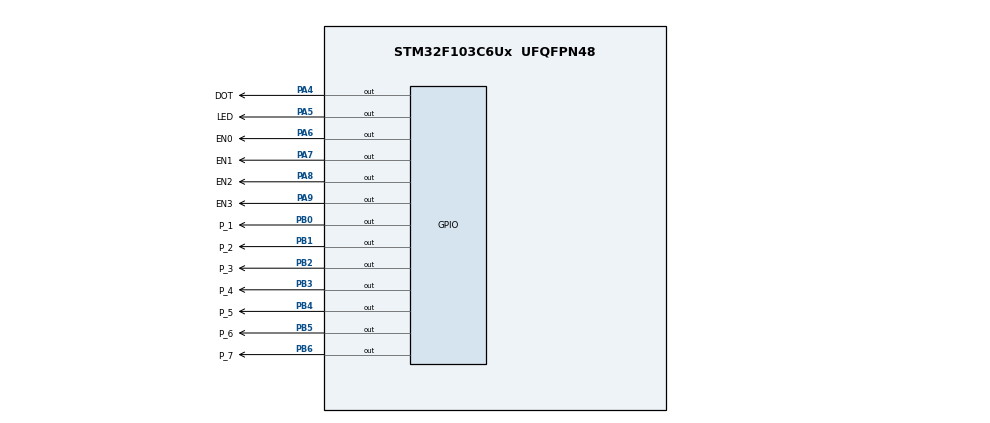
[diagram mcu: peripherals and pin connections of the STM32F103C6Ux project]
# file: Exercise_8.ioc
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Mcu.Family=STM32F1
Mcu.Name=STM32F103C6Ux
Mcu.Package=UFQFPN48
NVIC.PriorityGroup=NVIC_PRIORITYGROUP_4
NVIC.TIM2_IRQn=true\:0\:0\:false\:false\:true\:true\:true
PA4.GPIO_Label=DOT
PA4.Signal=GPIO_Output
PA5.GPIO_Label=LED
PA5.Signal=GPIO_Output
PA6.GPIO_Label=EN0
PA6.Signal=GPIO_Output
PA7.GPIO_Label=EN1
PA7.Signal=GPIO_Output
PA8.GPIO_Label=EN2
PA8.Signal=GPIO_Output
PA9.GPIO_Label=EN3
PA9.Signal=GPIO_Output
PB0.GPIO_Label=P_1
PB0.Signal=GPIO_Output
PB1.GPIO_Label=P_2
PB1.Signal=GPIO_Output
PB2.GPIO_Label=P_3
PB2.Signal=GPIO_Output
PB3.GPIO_Label=P_4
PB3.Signal=GPIO_Output
PB4.GPIO_Label=P_5
PB4.Signal=GPIO_Output
PB5.GPIO_Label=P_6
PB5.Signal=GPIO_Output
PB6.GPIO_Label=P_7
PB6.Signal=GPIO_Output
ProjectManager.HeapSize=0x200
ProjectManager.StackSize=0x400
ProjectManager.TargetToolchain=STM32CubeIDE
RCC.APB1Freq_Value=8000000
RCC.APB2Freq_Value=8000000
TIM2.Period=9
TIM2.Prescaler=7999
VP_SYS_VS_ND.Mode=No_Debug
VP_TIM2_VS_ClockSourceINT.Mode=Internal
board=custom

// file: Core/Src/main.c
/* USER CODE BEGIN Header */
/**
  ******************************************************************************
  * @file           : main.c
  * @brief          : Main program body
  ******************************************************************************
  * @attention
  *
  * <h2><center>&copy; Copyright (c) 2022 STMicroelectronics.
  * All rights reserved.</center></h2>
  *
  * This software component is licensed by ST under BSD 3-Clause license,
  * the "License"; You may not use this file except in compliance with the
  * License. You may obtain a copy of the License at:
  *                        opensource.org/licenses/BSD-3-Clause
  *
  ******************************************************************************
  */
/* USER CODE END Header */
#include "main.h"

/* USER CODE BEGIN Includes */
#include "timer.h"
/* USER CODE END Includes */

TIM_HandleTypeDef htim2;

void SystemClock_Config(void);
static void MX_GPIO_Init(void);
static void MX_TIM2_Init(void);

/* USER CODE BEGIN 0 */
void display7SEG (int time)
{
	if(time==0)
	{
		HAL_GPIO_WritePin(P_1_GPIO_Port, P_1_Pin, RESET);
		HAL_GPIO_WritePin(P_2_GPIO_Port, P_2_Pin, RESET);
		HAL_GPIO_WritePin(P_3_GPIO_Port, P_3_Pin, RESET);
		HAL_GPIO_WritePin(P_4_GPIO_Port, P_4_Pin, RESET);
		HAL_GPIO_WritePin(P_5_GPIO_Port, P_5_Pin, RESET);
		HAL_GPIO_WritePin(P_6_GPIO_Port, P_6_Pin, RESET);
		HAL_GPIO_WritePin(P_7_GPIO_Port, P_7_Pin, SET);
	}
	else if(time==1)
	{
		HAL_GPIO_WritePin(P_1_GPIO_Port, P_1_Pin, SET);
		HAL_GPIO_WritePin(P_2_GPIO_Port, P_2_Pin, RESET);
		HAL_GPIO_WritePin(P_3_GPIO_Port, P_3_Pin, RESET);
		HAL_GPIO_WritePin(P_4_GPIO_Port, P_4_Pin, SET);
		HAL_GPIO_WritePin(P_5_GPIO_Port, P_5_Pin, SET);
		HAL_GPIO_WritePin(P_6_GPIO_Port, P_6_Pin, SET);
		HAL_GPIO_WritePin(P_7_GPIO_Port, P_7_Pin, SET);
	}
	else if(time==2)
	{
		HAL_GPIO_WritePin(P_1_GPIO_Port, P_1_Pin, RESET);
		HAL_GPIO_WritePin(P_2_GPIO_Port, P_2_Pin, RESET);
		HAL_GPIO_WritePin(P_3_GPIO_Port, P_3_Pin, SET);
		HAL_GPIO_WritePin(P_4_GPIO_Port, P_4_Pin, RESET);
		HAL_GPIO_WritePin(P_5_GPIO_Port, P_5_Pin, RESET);
		HAL_GPIO_WritePin(P_6_GPIO_Port, P_6_Pin, SET);
		HAL_GPIO_WritePin(P_7_GPIO_Port, P_7_Pin, RESET);
	}
	else if(time==3)
	{
		HAL_GPIO_WritePin(P_1_GPIO_Port, P_1_Pin, RESET);
		HAL_GPIO_WritePin(P_2_GPIO_Port, P_2_Pin, RESET);
		HAL_GPIO_WritePin(P_3_GPIO_Port, P_3_Pin, RESET);
		HAL_GPIO_WritePin(P_4_GPIO_Port, P_4_Pin, RESET);
		HAL_GPIO_WritePin(P_5_GPIO_Port, P_5_Pin, SET);
		HAL_GPIO_WritePin(P_6_GPIO_Port, P_6_Pin, SET);
		HAL_GPIO_WritePin(P_7_GPIO_Port, P_7_Pin, RESET);
	}
	else if(time==4)
	{
		HAL_GPIO_WritePin(P_1_GPIO_Port, P_1_Pin, SET);
		HAL_GPIO_WritePin(P_2_GPIO_Port, P_2_Pin, RESET);
		HAL_GPIO_WritePin(P_3_GPIO_Port, P_3_Pin, RESET);
		HAL_GPIO_WritePin(P_4_GPIO_Port, P_4_Pin, SET);
		HAL_GPIO_WritePin(P_5_GPIO_Port, P_5_Pin, SET);
		HAL_GPIO_WritePin(P_6_GPIO_Port, P_6_Pin, RESET);
		HAL_GPIO_WritePin(P_7_GPIO_Port, P_7_Pin, RESET);
	}
	else if(time==5)
	{
		HAL_GPIO_WritePin(P_1_GPIO_Port, P_1_Pin, RESET);
		HAL_GPIO_WritePin(P_2_GPIO_Port, P_2_Pin, SET);
		HAL_GPIO_WritePin(P_3_GPIO_Port, P_3_Pin, RESET);
		HAL_GPIO_WritePin(P_4_GPIO_Port, P_4_Pin, RESET);
		HAL_GPIO_WritePin(P_5_GPIO_Port, P_5_Pin, SET);
		HAL_GPIO_WritePin(P_6_GPIO_Port, P_6_Pin, RESET);
		HAL_GPIO_WritePin(P_7_GPIO_Port, P_7_Pin, RESET);
	}
	else if(time==6)
	{
		HAL_GPIO_WritePin(P_1_GPIO_Port, P_1_Pin, RESET);
		HAL_GPIO_WritePin(P_2_GPIO_Port, P_2_Pin, SET);
		HAL_GPIO_WritePin(P_3_GPIO_Port, P_3_Pin, RESET);
		HAL_GPIO_WritePin(P_4_GPIO_Port, P_4_Pin, RESET);
		HAL_GPIO_WritePin(P_5_GPIO_Port, P_5_Pin, RESET);
		HAL_GPIO_WritePin(P_6_GPIO_Port, P_6_Pin, RESET);
		HAL_GPIO_WritePin(P_7_GPIO_Port, P_7_Pin, RESET);
	}
	else if(time==7)
	{
		HAL_GPIO_WritePin(P_1_GPIO_Port, P_1_Pin, RESET);
		HAL_GPIO_WritePin(P_2_GPIO_Port, P_2_Pin, RESET);
		HAL_GPIO_WritePin(P_3_GPIO_Port, P_3_Pin, RESET);
		HAL_GPIO_WritePin(P_4_GPIO_Port, P_4_Pin, SET);
		HAL_GPIO_WritePin(P_5_GPIO_Port, P_5_Pin, SET);
		HAL_GPIO_WritePin(P_6_GPIO_Port, P_6_Pin, SET);
		HAL_GPIO_WritePin(P_7_GPIO_Port, P_7_Pin, SET);
	}
	else if(time==8)
	{
		HAL_GPIO_WritePin(P_1_GPIO_Port, P_1_Pin, RESET);
		HAL_GPIO_WritePin(P_2_GPIO_Port, P_2_Pin, RESET);
		HAL_GPIO_WritePin(P_3_GPIO_Port, P_3_Pin, RESET);
		HAL_GPIO_WritePin(P_4_GPIO_Port, P_4_Pin, RESET);
		HAL_GPIO_WritePin(P_5_GPIO_Port, P_5_Pin, RESET);
		HAL_GPIO_WritePin(P_6_GPIO_Port, P_6_Pin, RESET);
		HAL_GPIO_WritePin(P_7_GPIO_Port, P_7_Pin, RESET);
	}
	else if(time==9)
	{
		HAL_GPIO_WritePin(P_1_GPIO_Port, P_1_Pin, RESET);
		HAL_GPIO_WritePin(P_2_GPIO_Port, P_2_Pin, RESET);
		HAL_GPIO_WritePin(P_3_GPIO_Port, P_3_Pin, RESET);
		HAL_GPIO_WritePin(P_4_GPIO_Port, P_4_Pin, RESET);
		HAL_GPIO_WritePin(P_5_GPIO_Port, P_5_Pin, SET);
		HAL_GPIO_WritePin(P_6_GPIO_Port, P_6_Pin, RESET);
		HAL_GPIO_WritePin(P_7_GPIO_Port, P_7_Pin, RESET);
	}
}
const int MAX_LED = 4;
int led_buffer [4];
void update7SEG (int index) {
	switch (index)	{
	case 0:
		HAL_GPIO_WritePin(EN0_GPIO_Port, EN0_Pin, RESET);
		HAL_GPIO_WritePin(EN1_GPIO_Port, EN1_Pin, SET);
		HAL_GPIO_WritePin(EN2_GPIO_Port, EN2_Pin, SET);
		HAL_GPIO_WritePin(EN3_GPIO_Port, EN3_Pin, SET);
		display7SEG(led_buffer[0]);
		break;
	case 1:
		HAL_GPIO_WritePin(EN0_GPIO_Port, EN0_Pin, SET);
		HAL_GPIO_WritePin(EN1_GPIO_Port, EN1_Pin, RESET);
		HAL_GPIO_WritePin(EN2_GPIO_Port, EN2_Pin, SET);
		HAL_GPIO_WritePin(EN3_GPIO_Port, EN3_Pin, SET);
		display7SEG(led_buffer[1]);
		break;
	case 2:
		HAL_GPIO_WritePin(EN0_GPIO_Port, EN0_Pin, SET);
		HAL_GPIO_WritePin(EN1_GPIO_Port, EN1_Pin, SET);
		HAL_GPIO_WritePin(EN2_GPIO_Port, EN2_Pin, RESET);
		HAL_GPIO_WritePin(EN3_GPIO_Port, EN3_Pin, SET);
		display7SEG(led_buffer[2]);
		break;
	case 3:
		HAL_GPIO_WritePin(EN0_GPIO_Port, EN0_Pin, SET);
		HAL_GPIO_WritePin(EN1_GPIO_Port, EN1_Pin, SET);
		HAL_GPIO_WritePin(EN2_GPIO_Port, EN2_Pin, SET);
		HAL_GPIO_WritePin(EN3_GPIO_Port, EN3_Pin, RESET);
		display7SEG(led_buffer[3]);
		break;
	default:
		break;
	}
 }
void updateclockbuffer(int min,int hrs)
{
	if(min<10)
	{
		led_buffer[2]=0;
		led_buffer[3]=min;
	}
	else if(min>=10)
	{
		led_buffer[2]=min/10;
		led_buffer[3]=min%10;
	}
	if(hrs<10)
	{
		led_buffer[0]=0;
		led_buffer[1]=hrs;
	}
	else if(hrs>=10)
	{
		led_buffer[0]=hrs/10;
		led_buffer[1]=hrs%10;
	}
}
/* USER CODE END 0 */

int main(void)
{

  /* MCU Configuration--------------------------------------------------------*/

  /* Reset of all peripherals, Initializes the Flash interface and the Systick. */
  HAL_Init();

  /* Configure the system clock */
  SystemClock_Config();

  /* Initialize all configured peripherals */
  MX_GPIO_Init();
  MX_TIM2_Init();
  /* USER CODE BEGIN 2 */
  HAL_TIM_Base_Start_IT (& htim2 ) ;
  /* USER CODE END 2 */

  /* Infinite loop */
  /* USER CODE BEGIN WHILE */
  int hour=9, minute=59, second=50;
  updateclockbuffer(minute, hour);
  setTimer1(1000);
  setTimer2(500);
  setTimer3(10);
  int led_time=1000;
  int dot_time=500;
  int seg_time=250;
  int index_led = 0;
  while (1)
  {
	  if(timer1_flag==1)
	  {
		  setTimer1(led_time);
		  HAL_GPIO_TogglePin(LED_GPIO_Port, LED_Pin);
		  second ++;
		  if ( second >= 60) {
		  second = 0;
		  minute ++;
		  }
		  if( minute >= 60) {
		  minute = 0;
		  hour ++;
		  }
		  if( hour >=24) {
		  hour = 0;
		  }
		  updateclockbuffer(minute, hour);
	  }
	  if(timer2_flag==1)
	  {
		  setTimer2(dot_time);
		  HAL_GPIO_TogglePin(DOT_GPIO_Port,DOT_Pin);
	  }
	  if(timer3_flag==1)
	  {
		  setTimer3(seg_time);
		  update7SEG(index_led++);
		  if(index_led>3)
		  {
			  index_led=0;
		  }
	  }
    /* USER CODE END WHILE */

  }
}

void SystemClock_Config(void)
{
  RCC_OscInitTypeDef RCC_OscInitStruct = {0};
  RCC_ClkInitTypeDef RCC_ClkInitStruct = {0};

  /** Initializes the RCC Oscillators according to the specified parameters
  * in the RCC_OscInitTypeDef structure.
  */
  RCC_OscInitStruct.OscillatorType = RCC_OSCILLATORTYPE_HSI;
  RCC_OscInitStruct.HSIState = RCC_HSI_ON;
  RCC_OscInitStruct.HSICalibrationValue = RCC_HSICALIBRATION_DEFAULT;
  RCC_OscInitStruct.PLL.PLLState = RCC_PLL_NONE;
  if (HAL_RCC_OscConfig(&RCC_OscInitStruct) != HAL_OK)
  {
    Error_Handler();
  }
  /** Initializes the CPU, AHB and APB buses clocks
  */
  RCC_ClkInitStruct.ClockType = RCC_CLOCKTYPE_HCLK|RCC_CLOCKTYPE_SYSCLK
                              |RCC_CLOCKTYPE_PCLK1|RCC_CLOCKTYPE_PCLK2;
  RCC_ClkInitStruct.SYSCLKSource = RCC_SYSCLKSOURCE_HSI;
  RCC_ClkInitStruct.AHBCLKDivider = RCC_SYSCLK_DIV1;
  RCC_ClkInitStruct.APB1CLKDivider = RCC_HCLK_DIV1;
  RCC_ClkInitStruct.APB2CLKDivider = RCC_HCLK_DIV1;

  if (HAL_RCC_ClockConfig(&RCC_ClkInitStruct, FLASH_LATENCY_0) != HAL_OK)
  {
    Error_Handler();
  }
}

static void MX_TIM2_Init(void)
{

  TIM_ClockConfigTypeDef sClockSourceConfig = {0};
  TIM_MasterConfigTypeDef sMasterConfig = {0};

  htim2.Instance = TIM2;
  htim2.Init.Prescaler = 7999;
  htim2.Init.CounterMode = TIM_COUNTERMODE_UP;
  htim2.Init.Period = 9;
  htim2.Init.ClockDivision = TIM_CLOCKDIVISION_DIV1;
  htim2.Init.AutoReloadPreload = TIM_AUTORELOAD_PRELOAD_DISABLE;
  if (HAL_TIM_Base_Init(&htim2) != HAL_OK)
  {
    Error_Handler();
  }
  sClockSourceConfig.ClockSource = TIM_CLOCKSOURCE_INTERNAL;
  if (HAL_TIM_ConfigClockSource(&htim2, &sClockSourceConfig) != HAL_OK)
  {
    Error_Handler();
  }
  sMasterConfig.MasterOutputTrigger = TIM_TRGO_RESET;
  sMasterConfig.MasterSlaveMode = TIM_MASTERSLAVEMODE_DISABLE;
  if (HAL_TIMEx_MasterConfigSynchronization(&htim2, &sMasterConfig) != HAL_OK)
  {
    Error_Handler();
  }

}

static void MX_GPIO_Init(void)
{
  GPIO_InitTypeDef GPIO_InitStruct = {0};

  /* GPIO Ports Clock Enable */
  __HAL_RCC_GPIOA_CLK_ENABLE();
  __HAL_RCC_GPIOB_CLK_ENABLE();

  /*Configure GPIO pin Output Level */
  HAL_GPIO_WritePin(GPIOA, DOT_Pin|LED_Pin|EN0_Pin|EN1_Pin
                          |EN2_Pin|EN3_Pin, GPIO_PIN_RESET);

  /*Configure GPIO pin Output Level */
  HAL_GPIO_WritePin(GPIOB, P_1_Pin|P_2_Pin|P_3_Pin|P_4_Pin
                          |P_5_Pin|P_6_Pin|P_7_Pin, GPIO_PIN_RESET);

  /*Configure GPIO pins : DOT_Pin LED_Pin EN0_Pin EN1_Pin
                           EN2_Pin EN3_Pin */
  GPIO_InitStruct.Pin = DOT_Pin|LED_Pin|EN0_Pin|EN1_Pin
                          |EN2_Pin|EN3_Pin;
  GPIO_InitStruct.Mode = GPIO_MODE_OUTPUT_PP;
  GPIO_InitStruct.Pull = GPIO_NOPULL;
  GPIO_InitStruct.Speed = GPIO_SPEED_FREQ_LOW;
  HAL_GPIO_Init(GPIOA, &GPIO_InitStruct);

  /*Configure GPIO pins : P_1_Pin P_2_Pin P_3_Pin P_4_Pin
                           P_5_Pin P_6_Pin P_7_Pin */
  GPIO_InitStruct.Pin = P_1_Pin|P_2_Pin|P_3_Pin|P_4_Pin
                          |P_5_Pin|P_6_Pin|P_7_Pin;
  GPIO_InitStruct.Mode = GPIO_MODE_OUTPUT_PP;
  GPIO_InitStruct.Pull = GPIO_NOPULL;
  GPIO_InitStruct.Speed = GPIO_SPEED_FREQ_LOW;
  HAL_GPIO_Init(GPIOB, &GPIO_InitStruct);

}

/* USER CODE BEGIN 4 */
void HAL_TIM_PeriodElapsedCallback ( TIM_HandleTypeDef * htim )
{
	timerRun();
}
/* USER CODE END 4 */

void Error_Handler(void)
{
  __disable_irq();
  while (1)
  {
  }
}

/************************ (C) COPYRIGHT STMicroelectronics *****END OF FILE****/
